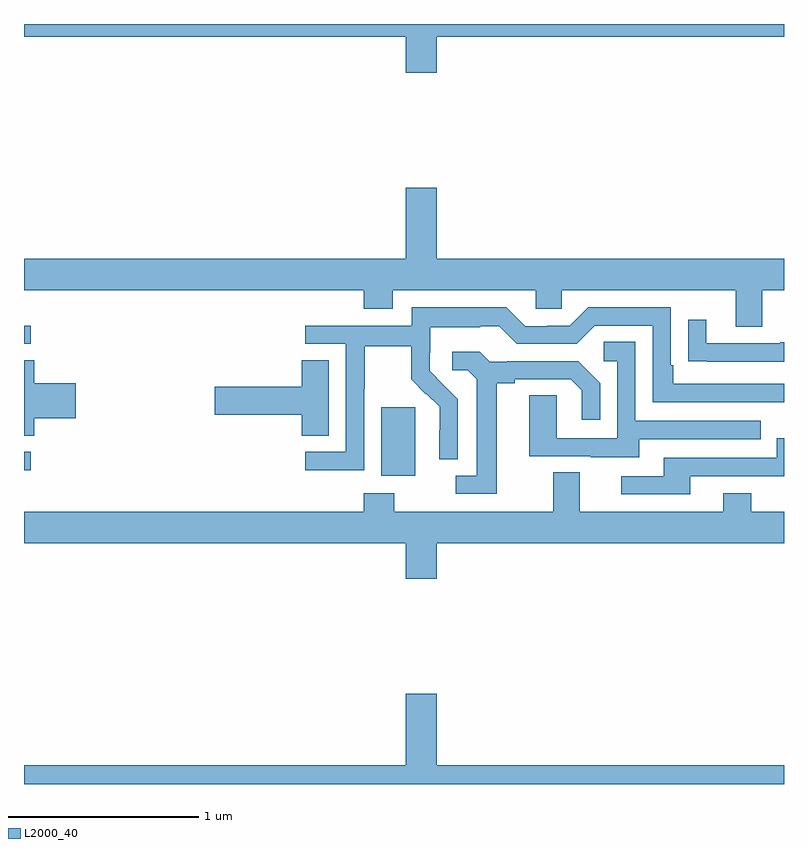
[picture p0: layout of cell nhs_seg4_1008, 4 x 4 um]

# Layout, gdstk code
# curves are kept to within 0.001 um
import gdstk
lib = gdstk.Library(unit=1e-6, precision=1e-09)
def R(c, l, rs):  # rectangles x0, y0, x1, y1
    for r in rs: c.add(gdstk.rectangle(r[:2], r[2:], *l))
def P(c, l, *ps):  # polygons
    for p in ps: c.add(gdstk.Polygon(p, *l))
L2000_40 = (2000, 40)

nhs_seg4_1008 = lib.new_cell('nhs_seg4_1008')
R(nhs_seg4_1008, L2000_40, [(164.879,782.522,165.058,782.883), (163,782.551,163.036,782.649), (163,783.216,163.036,783.312)])
P(nhs_seg4_1008, L2000_40, [(165.172,784.832),(167,784.832),(167,784.9),(163,784.9),(163,784.832),(165.008,784.832),(165.008,784.644),(165.172,784.644)],
  [(166.885,783.5),(167,783.5),(167,783.664),(165.172,783.664),(165.172,784.039),(165.008,784.039),(165.008,783.664),(163,783.664),(163,783.5),(164.789,783.5),(164.789,783.401),(164.941,783.401),(164.941,783.5),(165.693,783.5),(165.693,783.402),(165.831,783.402),(165.831,783.5),(166.745,783.5),(166.745,783.306),(166.885,783.306)],
  [(164.79,782.98),(164.793,782.98),(164.793,783.204),(165.037,783.204),(165.037,783.029),(165.114,782.952),(165.117,782.955),(165.188,782.885),(165.188,782.762),(165.186,782.762),(165.186,782.608),(165.282,782.608),(165.282,782.926),(165.136,783.074),(165.136,783.171),(165.138,783.171),(165.138,783.305),(165.401,783.305),(165.401,783.309),(165.501,783.309),(165.594,783.216),(165.909,783.216),(166.005,783.312),(166.308,783.312),(166.308,782.91),(167,782.91),(167,783.006),(166.417,783.006),(166.417,783.103),(166.404,783.103),(166.404,783.408),(165.969,783.408),(165.873,783.312),(165.755,783.312),(165.755,783.309),(165.639,783.309),(165.539,783.409),(165.042,783.409),(165.042,783.312),(164.481,783.312),(164.481,783.216),(164.694,783.216),(164.694,782.649),(164.481,782.649),(164.481,782.551),(164.79,782.551)],
  [(167,783.224),(166.981,783.224),(166.981,783.219),(166.591,783.219),(166.591,783.343),(166.495,783.343),(166.495,783.124),(166.597,783.124),(166.597,783.123),(167,783.123)],
  [(166.237,782.715),(166.877,782.715),(166.877,782.811),(166.218,782.811),(166.218,783.227),(166.05,783.227),(166.05,783.126),(166.122,783.126),(166.122,782.721),(165.804,782.721),(165.804,782.945),(165.659,782.945),(165.659,782.625),(165.983,782.625),(165.983,782.621),(166.237,782.621)],
  [(165.487,783.008),(165.583,783.008),(165.583,783.03),(165.878,783.03),(165.935,782.973),(165.935,782.817),(166.032,782.817),(166.032,783.01),(165.916,783.126),(165.544,783.126),(165.544,783.123),(165.45,783.123),(165.398,783.175),(165.255,783.175),(165.255,783.078),(165.336,783.078),(165.383,783.031),(165.383,782.523),(165.273,782.523),(165.273,782.427),(165.487,782.427)],
  [(164.605,783.131),(164.462,783.131),(164.462,782.99),(164.004,782.99),(164.004,782.843),(164.462,782.843),(164.462,782.734),(164.605,782.734)],
  [(163.055,782.825),(163.273,782.825),(163.273,783.008),(163.055,783.008),(163.055,783.131),(163,783.131),(163,782.734),(163.055,782.734)],
  [(166.507,782.52),(167,782.52),(167,782.719),(166.962,782.719),(166.962,782.616),(166.367,782.616),(166.367,782.52),(166.143,782.52),(166.143,782.424),(166.507,782.424)],
  [(165.172,782.168),(167,782.168),(167,782.332),(166.827,782.332),(166.827,782.431),(166.679,782.431),(166.679,782.332),(165.925,782.332),(165.925,782.54),(165.785,782.54),(165.785,782.332),(164.949,782.332),(164.949,782.431),(164.789,782.431),(164.789,782.332),(163,782.332),(163,782.168),(165.008,782.168),(165.008,781.98),(165.172,781.98)],
  [(167,781),(165.172,781),(165.172,781.375),(165.008,781.375),(165.008,781),(163,781),(163,780.9),(167,780.9)])

lib.write_gds('nhs_seg4_1008.gds')
